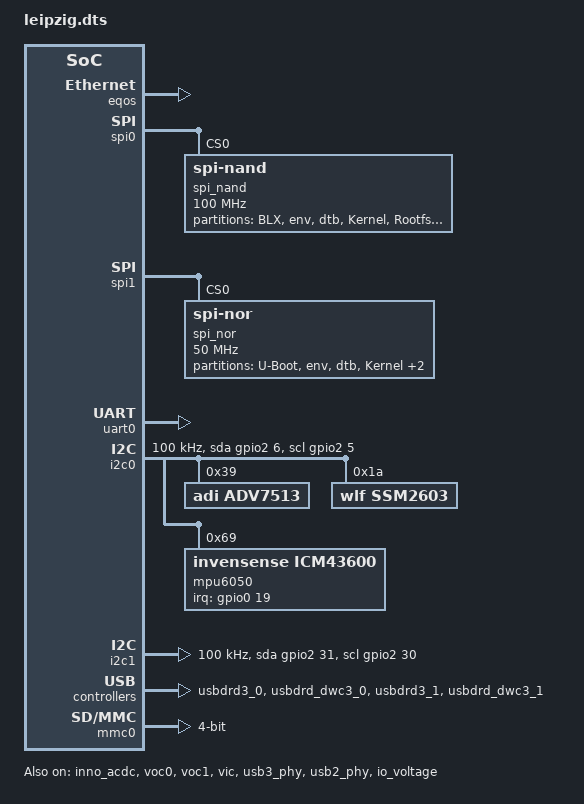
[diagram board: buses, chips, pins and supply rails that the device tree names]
// SPDX-License-Identifier: GPL-2.0-only
/*
 *
 * Copyright (C) 2023 VATICS Inc.
 *
 */
/dts-v1/;

/* reserved memory definitions */
#define SECURE_MEM_BASE 4000000
#define SECURE_MEM_SIZE 0x1000000
#define VQ7_MEM_BASE 5000000
#define VQ7_MEM_SIZE 0x1FFF000
#define VQ7_LOG_MEM_BASE 6FFF000
#define VQ7_LOG_MEM_SIZE 0x1000
#define RTOS_MEM_BASE 7000000
#define RTOS_MEM_SIZE 0x400000
#define EDMC_MEM_BASE D400000
#define EDMC_MEM_SIZE 0x32C00000

#include <dt-bindings/gpio/gpio.h>
#include "leipzig.dtsi"
#include "leipzig-evm-pinctrl.dtsi"
#include "leipzig_parallel_sensor.dtsi"
#include "leipzig_mipi_sensor.dtsi"

/ {
	soc {
		eqos: dweqos@c4000000 {
			status = "okay";
			pinctrl-names = "default";
			pinctrl-0 = <&eqosc_pins>;
		};
	};
};

&pinctrl {
	state_default: pinmuxing {
		monitor_clk_pins: monitor_clk {
			/delete-property/  function;
			/delete-property/  groups;
		};
	};

	gyro_pins: gyro {
		function = "gpio0";
		groups = "gpio0_data19";
	};
};

&spi0 {
	status = "okay";
	rx-sample-delay-ns = <10>;
	pinctrl-names = "default";
	pinctrl-0 = <&ssic0_quad_pins>;
	/delete-property/ cs-gpios;
	spi_nand@0 {
		#address-cells = <1>;
		#size-cells = <1>;
		compatible = "spi-nand";
		spi-tx-bus-width = <2>;
		spi-rx-bus-width = <2>;
		reg = <0>;
		spi-max-frequency = <100000000>;
		m25p,fast-read;
		spi-cpha;
		spi-cpol;
		partitions {
			compatible = "fixed-partitions";
			#address-cells = <1>;
			#size-cells = <1>;
			/*BL2 + BL31*/
			partition@0 {
				label = "BLX";
				reg = <0x00000000 0x00140000>;
			};
			partition@1 {
				label = "env";
				reg = <0x00140000 0x00080000>;
			};
			partition@2 {
				label = "dtb";
				reg = <0x001C0000 0x00080000>;
			};
			partition@3 {
				label = "Kernel";
				reg = <0x00340000 0x01280000>;
			};
			partition@4 {
				label = "Rootfs";
				reg = <0x01DC0000 0x01800000>;
			};
			partition@5 {
				label = "Ubifs";
				reg = <0x035C0000 0x0CA40000>;
			};
			partition@6 {
				label = "U-Boot";
				reg = <0x00240000 0x00100000>;
			};
			partition@7 {
				label = "OP-TEE";
				reg = <0x015C0000 0x00800000>;
			};
		};
	};
};

&spi1 {
	status = "okay";
	rx-sample-delay-ns = <10>;
	pinctrl-names = "default";
	pinctrl-0 = <&ssic1_pins>;
	/delete-property/ cs-gpios;
	spi_nor@0 {
		#address-cells = <1>;
		#size-cells = <1>;
		compatible = "jedec,spi-nor";
		reg = <0>;
		spi-max-frequency = <50000000>;
		m25p,fast-read;
		spi-cpha;
		spi-cpol;
		partitions {
			compatible = "fixed-partitions";
			#address-cells = <1>;
			#size-cells = <1>;
			partition@0 {
				label = "U-Boot";
				reg = <0x00000000 0x00140000>;
			};
			partition@1 {
				label = "env";
				reg = <0x00140000 0x00040000>;
			};
			partition@2 {
				label = "dtb";
				reg = <0x00180000 0x00010000>;
			};
			partition@3 {
				label = "Kernel";
				reg = <0x00190000 0x002e0000>;
			};
			partition@4 {
				label = "Rootfs";
				reg = <0x00470000 0x00470000>;
			};
			partition@5 {
				label = "Jffs2";
				reg = <0x008e0000 0x00720000>;
			};
		};
	};
};

&sound {
	status = "okay";
	/* Pin Control */
	pinctrl-names = "default";
	pinctrl-0 = <&i2s_slave_pins>;
	//pinctrl-0 = <&i2s_master_pins>;
	//pinctrl-0 = <&i2s_tx_slave_pins>, <&adcd_pdm_pins>;
	//pinctrl-0 = <&i2s_tx_master_pins>, <&adcd_pdm_pins>;
	/* Codec Application Combination */
	/* (I) Use internal codec only */
	compatible = "vtx,evm-machine";
	/* (II) Use external codec only */
	//compatible = "vtx,evm-ssm2603-machine"; /* SSM2603 */
	/* (III) Both use internal and external codecs */
	//compatible = "vtx,evm-inno-ssm2603-machine"; /* INNOSILICON and SSM2603 */
};

&inno_acdc {
	status = "okay";
	/* Digital Microphone */
	//adcdcc-pdm;
	//pdm-gain = <3>;
	/* MONO mode */
	adc-mono = <0>; /* MIC IN - 0: stereo in, 1: left channel in, 2: right channel in */
};

&uart0 {
	status = "okay";
	pinctrl-names = "default";
	pinctrl-0 = <&uart0_p0_s0_pins>;
};

&i2c0 {
	status = "okay";
	clock-frequency = <100000>;
	pinctrl-names = "default", "gpio";
	pinctrl-0 = <&i2c0_pins>;
	pinctrl-1 = <&i2c0_gpio_pins>;
	scl-gpios = <&gpio2 5 (GPIO_ACTIVE_HIGH | GPIO_OPEN_DRAIN)>;
	sda-gpios = <&gpio2 6 (GPIO_ACTIVE_HIGH | GPIO_OPEN_DRAIN)>;
	/* HDMI Transmitter device: AD ADV7513 */
	adv7513@39 {
		compatible = "adi,adv7513";
		reg = <0x39>;
	};
	/* Audio Codec device: AD SSM2603 */
	ssm2603@1a {
		status = "okay";
		compatible = "wlf,ssm2603";
		reg = <0x1a>;
	};
	mpu6050:mpu6050@69 {
		status = "okay";
		compatible = "invensense,icm43600";
		reg = <0x69>;
		interrupt-parent = <&gpio0>;
		interrupts = <19 IRQ_TYPE_EDGE_RISING>;
		pinctrl-names = "default";
		pinctrl-0 = <&gyro_pins>;
		mount-matrix = "1",                   /* x0 */
				"0",                   /* y0 */
				"0",                   /* z0 */
				"0",                   /* x1 */
				"1",                   /* y1 */
				"0",                   /* z1 */
				"0",                   /* x2 */
				"0",                   /* y2 */
				"1";                   /* z2 */
		#io-channel-cells = <1>;
		axis_map_x = <0>;
		axis_map_y = <1>;
		axis_map_z = <2>;
		negate_x = <0>;
		negate_y = <0>;
		negate_z = <0>;
		inven,secondary_type = "none";
		inven,aux_type = "none";
		inven,read_only_slave_type = "none";
	};
};

&i2c1 {
	status = "okay";
	clock-frequency = <100000>;
	pinctrl-names = "default", "gpio";
	pinctrl-0 = <&i2c1_p1_pins>;
	pinctrl-1 = <&i2c1_p1_gpio_pins>;
	scl-gpios = <&gpio2 30 (GPIO_ACTIVE_HIGH | GPIO_OPEN_DRAIN)>;
	sda-gpios = <&gpio2 31 (GPIO_ACTIVE_HIGH | GPIO_OPEN_DRAIN)>;
};

&i2c2 {
	status = "disable";
	clock-frequency = <100000>;
	pinctrl-names = "default", "gpio";
	pinctrl-0 = <&i2c2_p1_pins>;
	pinctrl-1 = <&i2c2_p1_gpio_pins>;
	scl-gpios = <&gpio0 15 (GPIO_ACTIVE_HIGH | GPIO_OPEN_DRAIN)>;
	sda-gpios = <&gpio0 16 (GPIO_ACTIVE_HIGH | GPIO_OPEN_DRAIN)>;
};

&gpio0 {
	status = "okay";
};

&gpio1 {
	status = "okay";
};

&gpio2 {
	status = "okay";
};

&voc0 {
	status = "okay";
};

&voc1 {
	status = "okay";
};

&vic {
	status = "okay";
	pinctrl-names = "default";
	pinctrl-0 = <&vic0_pins>;
};

/* usb3 */
&usbdrd3_0 {
	status = "okay";
};

&usbdrd_dwc3_0 {
	status = "okay";

	/* tx-fifo-resize; */
	/* tx-fifo-max-num = /bits/ 8<0x10>; */

	/* enable usb-role-switch */
	/* usb-role-switch; */
	/* connector { */
	/* compatible = "gpio-usb-b-connector", "usb-b-connector"; */
	/* type = "micro"; */
	/* label = "micro-USB"; */
	/* pinctrl-names = "default"; */
	/* pinctrl-0 = <&usb30_pins>; */
	/* id-gpios = <&gpio1 25 (GPIO_ACTIVE_HIGH | GPIO_PULL_UP)>; */
	/* }; */
};

&usb3_phy {
	status = "okay";
};

&usbdrd3_1 {
	status = "okay";
};

&usbdrd_dwc3_1 {
	status = "okay";

	/* enable usb-role-switch */
	/* usb-role-switch; */
	/* connector { */
	/* compatible = "gpio-usb-b-connector", "usb-b-connector"; */
	/* type = "micro"; */
	/* label = "micro-USB"; */
	/* pinctrl-names = "default"; */
	/* pinctrl-0 = <&usb20_pins>; */
	/* id-gpios = <&gpio1 28 (GPIO_ACTIVE_HIGH | GPIO_PULL_UP)>; */
	/* }; */
};

&usb2_phy {
	status = "okay";
};
&mmc0 {
	status = "okay";
	//bus-width = <8>;
	bus-width = <4>;
	phy-clkdl = <0>;
	pinctrl-names = "default";
	pinctrl-0 = <&mshc_pins>;
};

//&mmc1 {
//    status = "okay";
//    phy-clkdl = <0>;
//};

&io_voltage {
	status = "okay";
	/*3300000, 2500000, 1800000*/
	pd1-default = <3300000>;
	pd5-default = <1800000>;
	pd6-default = <3300000>;
	pd9-default = <3300000>;
	pd10-default = <3300000>;
	pd11-default = <3300000>;
	pd13-default = <3300000>;
};

&pmu {
	status = "okay";

	rtc: sgc-rtc@0 {
		/*alarm = <&gpio2 14 0>;*/
	};
};
